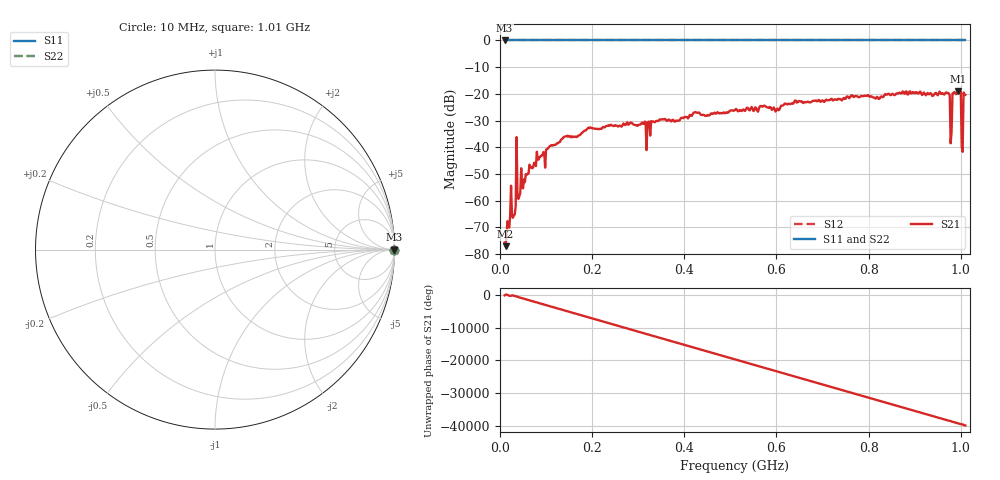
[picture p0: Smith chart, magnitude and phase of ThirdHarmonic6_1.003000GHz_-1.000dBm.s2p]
! 8/16/2025 8:08:24 AM
! C:\ANRITSUVNA\TEMP\TEMP.S2P
! CHANNEL.1
! TR.MEASUREMENT
! RAW.DATA
! RF.CORRECTION.OFF
! AVERAGING.OFF
! IF.BANDWIDTH: 5KHZ
! SWEEPTYPE:  FREQ.SWEEP(Linear)
! Reference Plane Port Info
! PORT:  PORT1  PORT2
! DISTANCE:  0  m  0  m
! TIME:  0  s  0  s
! PHASE.OFFSET:  0  deg.  0  deg.
! LOSS:  0  dB  0  dB
! REF.LOSS:  0  dB  0  dB
! REF.FREQ:  0  Hz  0  Hz
! Power Info
! POWER:  -20  dBm  -20  dBm
! EFF.POWER:  -20  dBm  -20  dBm
! SOURCE.ATTEN:  0  dB  0  dB
! TEST.ATTEN:  0  dB  0  dB
# GHZ S RI R 50.0
! FREQ.GHZ  S11RE  S11IM  S21RE  S21IM  S12RE  S12IM  S22RE  S22IM
!; PortSelection: Port_12
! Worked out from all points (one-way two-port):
!   501 points, 10 MHz to 1.01 GHz, reference 50 ohm
!   highest |S21| = -18.96 dB at 994 MHz (marker M1); lowest = -77.1 dB at 12 MHz (marker M2)
!   lowest |S11| = 0.0 dB at 10 MHz (marker M3)
!   |S11| at or under -10 dB: nowhere
!   |S22| runs from 0.0 to 0.0 dB; largest |S21 - S12| = 1.1
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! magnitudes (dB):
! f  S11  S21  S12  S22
! 10 MHz  0.0  -75.8  0.0  0.0
! 12 MHz  0.0  -77.1  0.0  0.0
! 20 MHz  0.0  -70.1  0.0  0.0
! 30 MHz  0.0  -65.6  0.0  0.0
! 32 MHz  0.0  -65.2  0.0  0.0
! 40 MHz  0.0  -59.4  0.0  0.0
! 108 MHz  0.0  -39.6  0.0  0.0
! 178 MHz  0.0  -34.7  0.0  0.0
! 322 MHz  0.0  -30.5  0.0  0.0
! 344 MHz  0.0  -30.2  0.0  0.0
! 510 MHz  0.0  -26.1  0.0  0.0
! 678 MHz  0.0  -22.7  0.0  0.0
! 844 MHz  0.0  -20.0  0.0  0.0
! 970 MHz  0.0  -19.6  0.0  0.0
! 978 MHz  0.0  -38.5  0.0  0.0
! 982 MHz  0.0  -19.9  0.0  0.0
! 986 MHz  0.0  -19.3  0.0  0.0
! 994 MHz  0.0  -19.0  0.0  0.0
! 996 MHz  0.0  -19.5  0.0  0.0
! 1 GHz  0.0  -19.1  0.0  0.0
! 1.006 GHz  0.0  -19.5  0.0  0.0
! 1.01 GHz  0.0  -20.4  0.0  0.0
